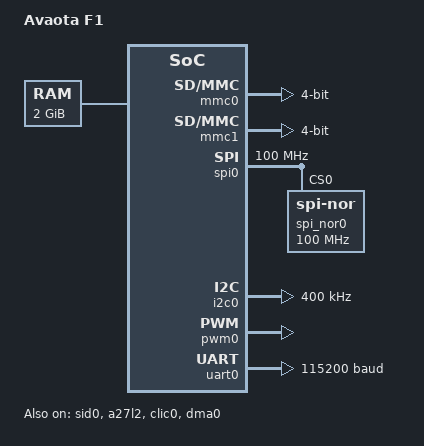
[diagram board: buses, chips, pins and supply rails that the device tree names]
// SPDX-License-Identifier: GPL-2.0+
/dts-v1/;

#include <dt-bindings/dram/dram-param.h>

#include <dt-bindings/gpio/sunxi-gpio.h>
#include <dt-bindings/pwm/sunxi-pwm.h>
#include <dt-bindings/soc/sun300iw1.h>

/ {
	#address-cells = <1>;
	#size-cells = <1>;
	model = "Avaota F1";
	compatible = "syterkit,avaota-f1";

	aliases {
		sid0 = &sid0;
		a27l2 = &a27l2;
		dma0 = &dma0;
		dram0 = &dram0;
		i2c0 = &i2c0;
		intc0 = &clic0;
		mmc0 = &mmc0;
		mmc1 = &mmc1;
		pwm0 = &pwm0;
		spi0 = &spi0;
		spi-nor0 = &spi_nor0;
	};

	chosen {
		stdout-path = &uart0;
	};

	dram_memory: memory@80000000 {
		device_type = "memory";
		reg = <0x80000000 0x80000000>;
	};

	dram0: dram-controller {
		compatible = "allwinner,sunxi-dram";
		allwinner,dram-parameters =
			<0x00000210>,
			<SUNXI_DRAM_DDR2>,
			<0x007b7bf9>,
			<0x00000000>,
			<0x000000d2>,
			<0x00400000>,
			<0x00000e73>,
			<0x00000002>,
			<0x00000000>,
			<0x00000000>,
			<0x00471992>,
			<0x0131a10c>,
			<0x00057041>,
			<0xb4787896>,
			<0x00000000>,
			<0x48484848>,
			<0x00000048>,
			<0x1621121e>,
			<0x00000000>,
			<0x00000000>,
			<0x00000000>,
			<0x00000000>,
			<0x00000000>,
			<0x34000100>,
			<0x00000000>,
			<0x00000000>,
			<0x00000000>,
			<0x00000000>,
			<0x00000000>,
			<0x00000000>,
			<0x00000000>,
			<0x00000000>;
		status = "okay";
	};

	pio: pinctrl@42000000 {
		compatible = "allwinner,sunxi-pinctrl";
		reg = <SUNXI_GPIO_BASE 0x1000>;
		allwinner,bank-base = <SUNXI_GPIO_PORT_A>;
		allwinner,bank-count = <11>;
		gpio-controller;
		#gpio-cells = <3>;

		mmc0_pins: mmc0-pins {
			allwinner,pins =
				<SUNXI_GPIO_PORT_C 2 2>,
				<SUNXI_GPIO_PORT_C 3 2>,
				<SUNXI_GPIO_PORT_C 1 2>,
				<SUNXI_GPIO_PORT_C 0 2>,
				<SUNXI_GPIO_PORT_C 5 2>,
				<SUNXI_GPIO_PORT_C 4 2>;
		};

		mmc1_pins: mmc1-pins {
			allwinner,pins =
				<SUNXI_GPIO_PORT_C 2 2>,
				<SUNXI_GPIO_PORT_C 3 2>,
				<SUNXI_GPIO_PORT_C 1 2>,
				<SUNXI_GPIO_PORT_C 0 2>,
				<SUNXI_GPIO_PORT_C 5 2>,
				<SUNXI_GPIO_PORT_C 4 2>;
		};

		spi0_pins: spi0-pins {
			allwinner,pins =
				<SUNXI_GPIO_PORT_C 10 3>,
				<SUNXI_GPIO_PORT_C 9 3>,
				<SUNXI_GPIO_PORT_C 8 3>,
				<SUNXI_GPIO_PORT_C 11 3>,
				<SUNXI_GPIO_PORT_C 6 3>,
				<SUNXI_GPIO_PORT_C 7 3>;
		};

		i2c0_pins: i2c0-pins {
			allwinner,pins =
				<SUNXI_GPIO_PORT_A 3 4>,
				<SUNXI_GPIO_PORT_A 4 4>;
		};

		pwm0_pins: pwm0-pins {
			allwinner,pins =
				<SUNXI_GPIO_PORT_D 1 5>,
				<SUNXI_GPIO_PORT_D 2 5>,
				<SUNXI_GPIO_PORT_D 3 5>,
				<SUNXI_GPIO_PORT_D 4 5>;
		};

	};

	r_pio: pinctrl@42000540 {
		compatible = "allwinner,sunxi-pinctrl";
		reg = <SUNXI_RPIO_BASE 0x1000>;
		allwinner,bank-base = <SUNXI_GPIO_PORT_L>;
		allwinner,bank-count = <3>;
		gpio-controller;
		#gpio-cells = <3>;

		uart0_pins: uart0-pins {
			allwinner,pins =
				<SUNXI_GPIO_PORT_L 4 3>,
				<SUNXI_GPIO_PORT_L 5 3>;
		};
	};

	reserved-memory {
		#address-cells = <1>;
		#size-cells = <1>;
		ranges;

		mmc0_dma: dma-descriptors@80080000 {
			reg = <0x80080000 0x100000>;
			no-map;
		};

		mmc1_dma: dma-descriptors@80180000 {
			reg = <0x80180000 0x100000>;
			no-map;
		};

		a27l2_firmware: firmware@80280000 {
			reg = <0x80280000 0x100000>;
			no-map;
		};
	};

	soc {
		compatible = "simple-bus";
		#address-cells = <1>;
		#size-cells = <1>;
		ranges;

		sid0: efuse@43006000 {
			compatible = "allwinner,sunxi-sid";
			reg = <SUNXI_SID_BASE 0x400>;
			allwinner,efuse-hv-switch = <(SUNXI_PMU_RTC_BASE + 0x204)>;
			status = "okay";
		};

		a27l2: remoteproc@49100000 {
			compatible = "allwinner,sun300iw1-a27l2";
			reg =
				<SUNXI_PMU_AON_BASE 0x100>,
				<SUNXI_CCU_AON_BASE 0x1000>,
				<SUNXI_CCU_APP_BASE 0x1000>,
				<SUNXI_A27L2_CFG_BASE 0x1000>;
			firmware-name = "a27l2.elf";
			memory-region = <&a27l2_firmware>;
			allwinner,firmware-format = "elf32";
			status = "okay";
		};

		clic0: interrupt-controller@30800000 {
			compatible = "thead,c900-clic";
			reg = <SUNXI_RISCV_CLIC_BASE 0x2000>;
			interrupt-controller;
			#interrupt-cells = <1>;
			riscv,num-sources = <208>;
			status = "okay";
		};

		mmc0: mmc@44020000 {
			compatible = "allwinner,sunxi-mmc";
			reg = <SUNXI_SMHC0_BASE 0x1000>;
			label = "sdhci0";
			allwinner,mmc-id = <0>;
			bus-width = <4>;
			max-frequency = <50000000>;
			memory-region = <&mmc0_dma>;
			allwinner,clock-gate = <(SUNXI_CCU_APP_BASE + 0x84) 20>;
			allwinner,reset = <(SUNXI_CCU_APP_BASE + 0x94) 20>;
			allwinner,module-clock =
				<(SUNXI_CCU_APP_BASE + 0x14) 16 0 1>;
			allwinner,clock-source-rates =
				<40000000 192000000 0 0>;
			pinctrl-names = "default";
			pinctrl-0 = <&mmc0_pins>;
			status = "okay";
		};

		mmc1: mmc@44021000 {
			compatible = "allwinner,sunxi-mmc";
			reg = <SUNXI_SMHC1_BASE 0x1000>;
			label = "sdhci1";
			allwinner,mmc-id = <1>;
			bus-width = <4>;
			max-frequency = <50000000>;
			memory-region = <&mmc1_dma>;
			allwinner,clock-gate = <(SUNXI_CCU_APP_BASE + 0x84) 21>;
			allwinner,reset = <(SUNXI_CCU_APP_BASE + 0x94) 21>;
			allwinner,module-clock =
				<(SUNXI_CCU_APP_BASE + 0x5c) 16 0 1>;
			allwinner,clock-source-rates =
				<40000000 192000000 0 0>;
			pinctrl-names = "default";
			pinctrl-0 = <&mmc1_pins>;
			status = "okay";
		};

		dma0: dma-controller@43002000 {
			compatible = "allwinner,sunxi-dma";
			reg = <SUNXI_DMA_BASE 0x1000>;
			#dma-cells = <1>;
			allwinner,mbus-clock-gate = <(SUNXI_CCU_APP_BASE + 0x88) 2>;
			allwinner,clock-gate = <(SUNXI_CCU_APP_BASE + 0x80) 9>;
			allwinner,reset = <(SUNXI_CCU_APP_BASE + 0x90) 9>;
			status = "okay";
		};

		spi0: spi@44025000 {
			compatible = "allwinner,sunxi-spi";
			#address-cells = <1>;
			#size-cells = <0>;
			allwinner,spi-id = <0>;
			reg = <SUNXI_SPI0_BASE 0x1000>;
			clock-frequency = <100000000>;
			allwinner,module-clock = <(SUNXI_CCU_APP_BASE + 0x1c) 1 16 307200000 2>;
			allwinner,clock-gate = <(SUNXI_CCU_APP_BASE + 0x84) 4>;
			allwinner,reset = <(SUNXI_CCU_APP_BASE + 0x94) 4>;
			dmas = <&dma0 22>;
			dma-names = "rx";
			pinctrl-names = "default";
			pinctrl-0 = <&spi0_pins>;
			status = "okay";

			spi_nor0: flash@0 {
				compatible = "jedec,spi-nor";
				reg = <0>;
				spi-max-frequency = <100000000>;
			};
		};

		i2c0: i2c@42502000 {
			compatible = "allwinner,sunxi-i2c";
			reg = <SUNXI_TWI0_BASE 0x400>;
			clock-frequency = <400000>;
			allwinner,i2c-id = <0>;
			allwinner,parent-clock-frequency = <192000000>;
			allwinner,clock-gate = <(SUNXI_CCU_APP_BASE + 0x80) 14>;
			allwinner,reset = <(SUNXI_CCU_APP_BASE + 0x90) 14>;
			pinctrl-names = "default";
			pinctrl-0 = <&i2c0_pins>;
			status = "okay";
		};

		pwm0: pwm@42000c00 {
			compatible = "allwinner,sunxi-pwm";
			reg = <SUNXI_PWM_BASE 0x400>;
			#pwm-cells = <3>;
			allwinner,pwm-id = <0>;
			clock-frequency = <40000000>;
			allwinner,apb-clock-frequency = <384000000>;
			allwinner,clock-gate = <(SUNXI_CCU_APP_BASE + 0x80) 13>;
			allwinner,reset = <(SUNXI_CCU_APP_BASE + 0x90) 13>;
			allwinner,channel-config =
				<0 SUNXI_PWM_CHANNEL_SINGLE 0 0>,
				<1 SUNXI_PWM_CHANNEL_SINGLE 0 0>,
				<2 SUNXI_PWM_CHANNEL_BIND 3 4000>,
				<3 SUNXI_PWM_CHANNEL_BIND 2 4000>;
			pinctrl-names = "default";
			pinctrl-0 = <&pwm0_pins>;
			status = "okay";
		};

		uart0: serial@42500000 {
			compatible = "allwinner,sunxi-uart";
			reg = <SUNXI_UART0_BASE 0x400>;
			current-speed = <115200>;
			clock-frequency = <192000000>;
			allwinner,uart-id = <0>;
			allwinner,clock-gate = <(SUNXI_CCU_APP_BASE + 0x80) 15>;
			allwinner,reset = <(SUNXI_CCU_APP_BASE + 0x90) 15>;
			pinctrl-names = "default";
			pinctrl-0 = <&uart0_pins>;
			status = "okay";
		};
	};
};
